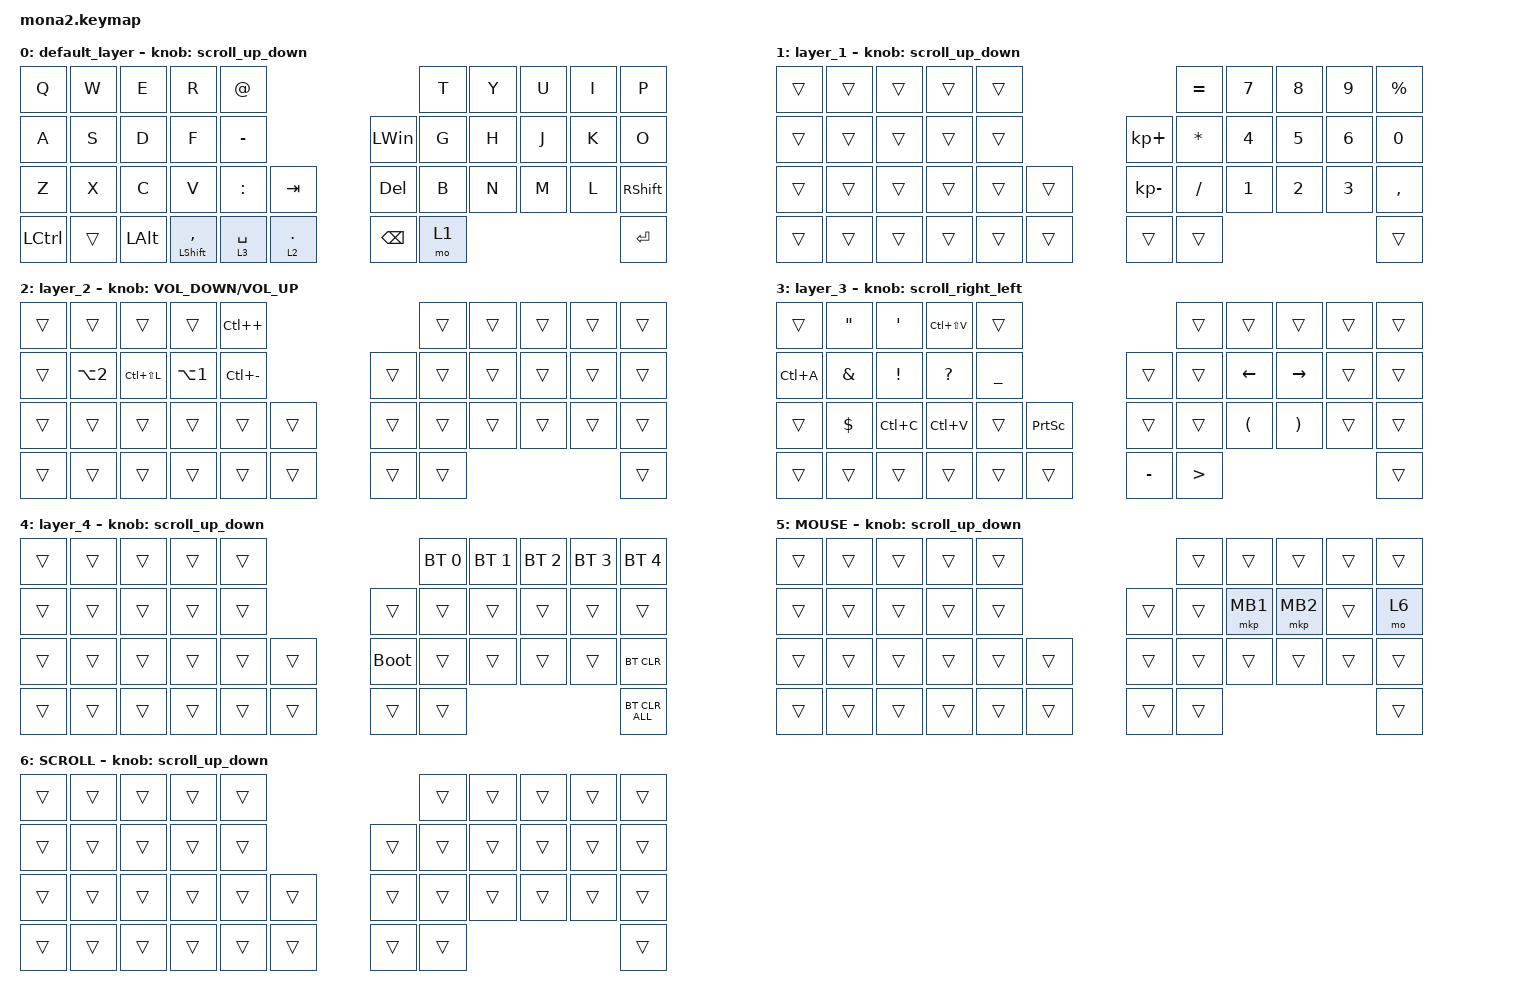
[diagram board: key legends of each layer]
#include <input/processors.dtsi>
#include <dt-bindings/zmk/input_transform.h>
#include <zephyr/dt-bindings/input/input-event-codes.h>
#include <behaviors.dtsi>
#include <dt-bindings/zmk/bt.h>
#include <dt-bindings/zmk/keys.h>
#include <dt-bindings/zmk/pointing.h>

#define ZMK_POINTING_DEFAULT_SCRL_VAL 100
#define MOUSE 5
#define SCROLL 6

&mt {
    flavor = "tap-preferred";
    quick-tap-ms = <0>;
    tapping-term-ms = <150>;
};

&lt {
    quick-tap-ms = <300>;
    flavor = "tap-preferred";
    tapping-term-ms = <175>;
};

/ {
    macros {
        kana_exit_aml: kana_exit_aml {
            compatible = "zmk,behavior-macro";
            wait-ms = <0>;
            tap-ms = <0>;
            #binding-cells = <0>;
            bindings = <&kp LANG1 &tog_off MOUSE>;
        };

        eisu_exit_aml: eisu_exit_aml {
            compatible = "zmk,behavior-macro";
            wait-ms = <0>;
            tap-ms = <0>;
            #binding-cells = <0>;
            bindings = <&kp LANG2 &tog_off MOUSE>;
        };
    };

    combos {
        compatible = "zmk,combos";

        shita {
            bindings = <&kp DOWN>;
            key-positions = <29 30>;
        };

        ue {
            bindings = <&kp UP_ARROW>;
            key-positions = <6 7>;
        };

        ctrlz {
            bindings = <&kp LC(Z)>;
            key-positions = <39 17>;
        };

        escape {
            bindings = <&kp ESCAPE>;
            key-positions = <38 39>;
        };

        combo_lang2 {
            bindings = <&eisu_exit_aml>;
            key-positions = <13 12>;
            layers = <0 5>;
            timeout-ms = <100>;
        };

        combo_lang1 {
            bindings = <&kana_exit_aml>;
            key-positions = <18 17>;
            layers = <0 5>;
            timeout-ms = <100>;
        };
    };

    behaviors {
        tog_off: toggle_layer_off {
            compatible = "zmk,behavior-toggle-layer";
            #binding-cells = <1>;
            toggle-mode = "off";
        };

        scroll_up_down: mouse_wheel_up_down {
            compatible = "zmk,behavior-sensor-rotate";
            label = "SCROLL_UP_DOWN";
            #sensor-binding-cells = <0>;
            bindings = <&msc SCRL_DOWN>, <&msc SCRL_UP>;

            tap-ms = <40>;
        };

        scroll_right_left: mouse_wheel_right_left {
            compatible = "zmk,behavior-sensor-rotate";
            label = "SCROLL_RIGHT_LEFT";
            #sensor-binding-cells = <0>;
            bindings = <&msc SCRL_LEFT>, <&msc SCRL_RIGHT>;

            tap-ms = <40>;
        };

        ctrl_zoom: ctrl_zoom {
            compatible = "zmk,behavior-sensor-rotate";
            label = "CTRL_ZOOM";
            #sensor-binding-cells = <0>;
            bindings = <&kp LC(MINUS)>, <&kp LC(EQUAL)>;

            tap-ms = <40>;
        };
    };

    keymap {
        compatible = "zmk,keymap";

        default_layer {
            bindings = <
&kp Q      &kp W   &kp E         &kp R                 &kp AT_SIGN                                 &kp T  &kp Y  &kp U  &kp I  &kp P
&kp A      &kp S   &kp D         &kp F                 &kp MINUS                    &kp LEFT_WIN   &kp G  &kp H  &kp J  &kp K  &kp O
&kp Z      &kp X   &kp C         &kp V                 &kp COLON    &kp TAB         &kp DELETE     &kp B  &kp N  &kp M  &kp L  &kp RSHFT
&kp LCTRL  &trans  &kp LEFT_ALT  &mt LEFT_SHIFT COMMA  &lt 3 SPACE  &lt 2 PERIOD    &kp BACKSPACE  &mo 1                       &kp ENTER
            >;

            sensor-bindings = <&scroll_up_down>;
        };

        layer_1 {
            bindings = <
&trans  &trans  &trans  &trans  &trans                          &kp EQUAL  &kp NUMBER_7  &kp NUMBER_8  &kp NUMBER_9  &kp PERCENT
&trans  &trans  &trans  &trans  &trans            &kp KP_PLUS   &kp ASTRK  &kp NUMBER_4  &kp N5        &kp NUMBER_6  &kp N0
&trans  &trans  &trans  &trans  &trans  &trans    &kp KP_MINUS  &kp SLASH  &kp NUMBER_1  &kp NUMBER_2  &kp NUMBER_3  &kp COMMA
&trans  &trans  &trans  &trans  &trans  &trans    &trans        &trans                                               &trans
            >;

            sensor-bindings = <&scroll_up_down>;
        };

        layer_2 {
            bindings = <
&trans  &trans            &trans         &trans            &kp LC(PLUS)                     &trans  &trans  &trans  &trans  &trans
&trans  &kp LA(NUMBER_2)  &kp LC(LS(L))  &kp LA(NUMBER_1)  &kp LC(MINUS)            &trans  &trans  &trans  &trans  &trans  &trans
&trans  &trans            &trans         &trans            &trans         &trans    &trans  &trans  &trans  &trans  &trans  &trans
&trans  &trans            &trans         &trans            &trans         &trans    &trans  &trans                          &trans
            >;

            sensor-bindings = <&inc_dec_kp C_VOLUME_DOWN C_VOLUME_UP>;
        };

        layer_3 {
            bindings = <
&trans     &kp DOUBLE_QUOTES  &kp SQT          &kp LC(LS(V))  &trans                                   &trans            &trans                &trans                 &trans  &trans
&kp LC(A)  &kp AMPERSAND      &kp EXCLAMATION  &kp QUESTION   &kp UNDER                     &trans     &trans            &kp LEFT_ARROW        &kp RIGHT              &trans  &trans
&trans     &kp DOLLAR         &kp LC(C)        &kp LC(V)      &trans     &kp PRINTSCREEN    &trans     &trans            &kp LEFT_PARENTHESIS  &kp RIGHT_PARENTHESIS  &trans  &trans
&trans     &trans             &trans           &trans         &trans     &trans             &kp MINUS  &kp GREATER_THAN                                                       &trans
            >;

            sensor-bindings = <&scroll_right_left>;
        };

        layer_4 {
            bindings = <
&trans  &trans  &trans  &trans  &trans                         &bt BT_SEL 0  &bt BT_SEL 1  &bt BT_SEL 2  &bt BT_SEL 3  &bt BT_SEL 4
&trans  &trans  &trans  &trans  &trans            &trans       &trans        &trans        &trans        &trans        &trans
&trans  &trans  &trans  &trans  &trans  &trans    &bootloader  &trans        &trans        &trans        &trans        &bt BT_CLR
&trans  &trans  &trans  &trans  &trans  &trans    &trans       &trans                                                  &bt BT_CLR_ALL
            >;

            sensor-bindings = <&scroll_up_down>;
        };

        MOUSE {
            bindings = <
&trans  &trans  &trans  &trans  &trans                    &trans  &trans    &trans    &trans  &trans
&trans  &trans  &trans  &trans  &trans            &trans  &trans  &mkp MB1  &mkp MB2  &trans  &mo 6
&trans  &trans  &trans  &trans  &trans  &trans    &trans  &trans  &trans    &trans    &trans  &trans
&trans  &trans  &trans  &trans  &trans  &trans    &trans  &trans                              &trans
            >;

            sensor-bindings = <&scroll_up_down>;
        };

        SCROLL {
            bindings = <
&trans  &trans  &trans  &trans  &trans                    &trans  &trans  &trans  &trans  &trans
&trans  &trans  &trans  &trans  &trans            &trans  &trans  &trans  &trans  &trans  &trans
&trans  &trans  &trans  &trans  &trans  &trans    &trans  &trans  &trans  &trans  &trans  &trans
&trans  &trans  &trans  &trans  &trans  &trans    &trans  &trans                          &trans
            >;

            sensor-bindings = <&scroll_up_down>;
        };
    };
};
